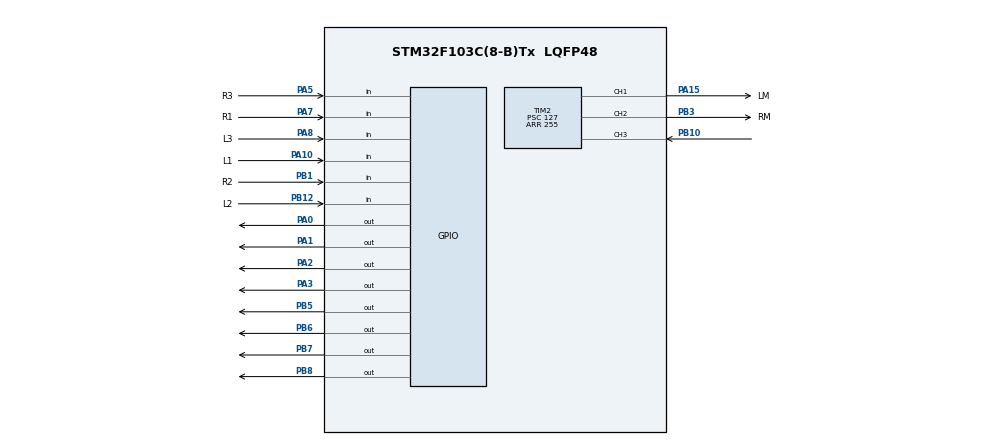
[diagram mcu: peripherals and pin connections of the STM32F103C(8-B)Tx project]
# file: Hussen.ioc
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Mcu.Family=STM32F1
Mcu.Name=STM32F103C(8-B)Tx
Mcu.Package=LQFP48
NVIC.PriorityGroup=NVIC_PRIORITYGROUP_4
NVIC.TIM2_IRQn=true\:0\:0\:false\:false\:true\:true\:true\:true
PA0-WKUP.Signal=GPIO_Output
PA1.Signal=GPIO_Output
PA10.GPIO_Label=L1
PA10.Signal=GPIO_Input
PA15.GPIO_Label=LM
PA15.Signal=S_TIM2_CH1_ETR
PA2.Signal=GPIO_Output
PA3.Signal=GPIO_Output
PA5.GPIO_Label=R3
PA5.Signal=GPIO_Input
PA7.GPIO_Label=R1
PA7.Signal=GPIO_Input
PA8.GPIO_Label=L3
PA8.Signal=GPIO_Input
PB1.GPIO_Label=R2
PB1.Signal=GPIO_Input
PB10.Signal=S_TIM2_CH3
PB12.GPIO_Label=L2
PB12.Signal=GPIO_Input
PB3.GPIO_Label=RM
PB3.Signal=S_TIM2_CH2
PB5.Signal=GPIO_Output
PB6.Signal=GPIO_Output
PB7.Signal=GPIO_Output
PB8.Signal=GPIO_Output
ProjectManager.HeapSize=0x200
ProjectManager.StackSize=0x400
ProjectManager.TargetToolchain=STM32CubeIDE
RCC.APB1Freq_Value=8000000
RCC.APB2Freq_Value=8000000
SH.S_TIM2_CH1_ETR.0=TIM2_CH1,PWM Generation1 CH1
SH.S_TIM2_CH2.0=TIM2_CH2,PWM Generation2 CH2
SH.S_TIM2_CH3.0=TIM2_CH3,Input_Capture3_from_TI3
TIM2.Channel-Input_Capture3_from_TI3=TIM_CHANNEL_3
TIM2.Channel-PWM\ Generation1\ CH1=TIM_CHANNEL_1
TIM2.Channel-PWM\ Generation2\ CH2=TIM_CHANNEL_2
TIM2.Period=255
TIM2.Prescaler=127
VP_SYS_VS_ND.Mode=No_Debug
board=custom

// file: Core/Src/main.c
/* USER CODE BEGIN Header */
/**
  ******************************************************************************
  * @file           : main.c
  * @brief          : Main program body
  ******************************************************************************
  * @attention
  *
  * Copyright (c) 2025 STMicroelectronics.
  * All rights reserved.
  *
  * This software is licensed under terms that can be found in the LICENSE file
  * in the root directory of this software component.
  * If no LICENSE file comes with this software, it is provided AS-IS.
  *
  ******************************************************************************
  */
/* USER CODE END Header */
#include "main.h"

TIM_HandleTypeDef htim2;

void SystemClock_Config(void);
static void MX_GPIO_Init(void);
static void MX_TIM2_Init(void);

/* USER CODE BEGIN 0 */

void forward(uint16_t leftMotorSpeed, uint16_t rightMotorSpeed)
{
	HAL_GPIO_WritePin(GPIOA, GPIO_PIN_0, GPIO_PIN_SET);
	HAL_GPIO_WritePin(GPIOA, GPIO_PIN_1, GPIO_PIN_RESET);
	HAL_GPIO_WritePin(GPIOA, GPIO_PIN_2, GPIO_PIN_SET);
	HAL_GPIO_WritePin(GPIOA, GPIO_PIN_3, GPIO_PIN_RESET);
	__HAL_TIM_SET_COMPARE(&htim2, TIM_CHANNEL_1, leftMotorSpeed);
	__HAL_TIM_SET_COMPARE(&htim2, TIM_CHANNEL_2, rightMotorSpeed);
}

void turnright(uint16_t leftMotorSpeed, uint16_t rightMotorSpeed)
{
	HAL_GPIO_WritePin(GPIOA, GPIO_PIN_0, GPIO_PIN_SET);
	HAL_GPIO_WritePin(GPIOA, GPIO_PIN_1, GPIO_PIN_RESET);
	HAL_GPIO_WritePin(GPIOA, GPIO_PIN_2, GPIO_PIN_RESET);
	HAL_GPIO_WritePin(GPIOA, GPIO_PIN_3, GPIO_PIN_SET);
	__HAL_TIM_SET_COMPARE(&htim2, TIM_CHANNEL_1, leftMotorSpeed);
	__HAL_TIM_SET_COMPARE(&htim2, TIM_CHANNEL_2, rightMotorSpeed);
}
void turnleft(uint16_t leftMotorSpeed, uint16_t rightMotorSpeed)
{
	HAL_GPIO_WritePin(GPIOA, GPIO_PIN_0, GPIO_PIN_RESET);
	HAL_GPIO_WritePin(GPIOA, GPIO_PIN_1, GPIO_PIN_SET);
	HAL_GPIO_WritePin(GPIOA, GPIO_PIN_2, GPIO_PIN_SET);
	HAL_GPIO_WritePin(GPIOA, GPIO_PIN_3, GPIO_PIN_RESET);
	__HAL_TIM_SET_COMPARE(&htim2, TIM_CHANNEL_1, leftMotorSpeed);
	__HAL_TIM_SET_COMPARE(&htim2, TIM_CHANNEL_2, rightMotorSpeed);
}
void backward(uint16_t leftMotorSpeed, uint16_t rightMotorSpeed)
{
	HAL_GPIO_WritePin(GPIOA, GPIO_PIN_0, GPIO_PIN_RESET);
	HAL_GPIO_WritePin(GPIOA, GPIO_PIN_1, GPIO_PIN_SET);
	HAL_GPIO_WritePin(GPIOA, GPIO_PIN_2, GPIO_PIN_RESET);
	HAL_GPIO_WritePin(GPIOA, GPIO_PIN_3, GPIO_PIN_SET);
	__HAL_TIM_SET_COMPARE(&htim2, TIM_CHANNEL_1, leftMotorSpeed);
	__HAL_TIM_SET_COMPARE(&htim2, TIM_CHANNEL_2, rightMotorSpeed);
}
void stop()
{
	HAL_GPIO_WritePin(GPIOA, GPIO_PIN_0, GPIO_PIN_RESET);
	HAL_GPIO_WritePin(GPIOA, GPIO_PIN_1, GPIO_PIN_RESET);
	HAL_GPIO_WritePin(GPIOA, GPIO_PIN_2, GPIO_PIN_RESET);
	HAL_GPIO_WritePin(GPIOA, GPIO_PIN_3, GPIO_PIN_RESET);
	__HAL_TIM_SET_COMPARE(&htim2, TIM_CHANNEL_1, 0);
	__HAL_TIM_SET_COMPARE(&htim2, TIM_CHANNEL_2, 0);
}

void readAll(GPIO_PinState *L1, GPIO_PinState *L2, GPIO_PinState *L3, GPIO_PinState *R1, GPIO_PinState *R2, GPIO_PinState *R3)
{
    *L1 = HAL_GPIO_ReadPin(L1_GPIO_Port, L1_Pin);
    *L2 = HAL_GPIO_ReadPin(L2_GPIO_Port, L2_Pin);
    *L3 = HAL_GPIO_ReadPin(L3_GPIO_Port, L3_Pin);
    *R1 = HAL_GPIO_ReadPin(R1_GPIO_Port, R1_Pin);
    *R2 = HAL_GPIO_ReadPin(R2_GPIO_Port, R2_Pin);
    *R3 = HAL_GPIO_ReadPin(R3_GPIO_Port, R3_Pin);
}

void readLeft(GPIO_PinState *L1, GPIO_PinState *L2, GPIO_PinState *L3)
{
    *L1 = HAL_GPIO_ReadPin(L1_GPIO_Port, L1_Pin);
    *L2 = HAL_GPIO_ReadPin(L2_GPIO_Port, L2_Pin);
    *L3 = HAL_GPIO_ReadPin(L3_GPIO_Port, L3_Pin);
}

void readRight(GPIO_PinState *R1, GPIO_PinState *R2, GPIO_PinState *R3)
{
    *R1 = HAL_GPIO_ReadPin(R1_GPIO_Port, R1_Pin);
    *R2 = HAL_GPIO_ReadPin(R2_GPIO_Port, R2_Pin);
    *R3 = HAL_GPIO_ReadPin(R3_GPIO_Port, R3_Pin);
}

/* USER CODE END 0 */

int main(void)
{

  /* USER CODE BEGIN 1 */
	GPIO_PinState L1, L2, L3, R1, R2, R3;
	int speed = 100;
	int turn1 = 30;
	int turn2 = 105;
	int turn3 = 110;

  /* USER CODE END 1 */

  /* MCU Configuration--------------------------------------------------------*/

  /* Reset of all peripherals, Initializes the Flash interface and the Systick. */
  HAL_Init();

  /* Configure the system clock */
  SystemClock_Config();

  /* Initialize all configured peripherals */
  MX_GPIO_Init();
  MX_TIM2_Init();
  /* USER CODE BEGIN 2 */
  HAL_TIM_PWM_Start(&htim2, TIM_CHANNEL_1);
  HAL_TIM_PWM_Start(&htim2, TIM_CHANNEL_2);
  /* USER CODE END 2 */

  /* Infinite loop */
  /* USER CODE BEGIN WHILE */
  while (1)
  {
	  readAll(&L1, &L2, &L3, &R1, &R2, &R3);

	  ///////////////////////////////////////////

	  while(L1 && !L2 && !L3)
	  {
		  turnright(speed, turn1);
		  readLeft(&L1, &L2, &L3);
	  }

	  while(L2 && !L3)
	  {
		  turnright(speed, turn2);
		  readLeft(&L1, &L2, &L3);
	  }

	  while(L3)
	  {
		  turnright(speed, turn3);
		  readLeft(&L1, &L2, &L3);
	  }

	  ////////////////////////////////////////////

	  while(R1 && !R2 && !R3)
	  {
		  turnleft(turn1, speed);
		  readRight(&R1, &R2, &R3);
	  }

	  while(R2 && !R3)
	  {
		  turnleft(turn2, speed);
		  readRight(&R1, &R2, &R3);
	  }

	  while(R3)
	  {

		  turnleft(turn3, speed);
		  readRight(&R1, &R2, &R3);
	  }

	  ////////////////////////////////////////////

	  while(!L1 && !L2 && !L3 && !R1 && !R2 && !R3)
	  {
		  forward(speed, speed);
		  readAll(&L1, &L2, &L3, &R1, &R2, &R3);
	  }

    /* USER CODE END WHILE */

  }
}

void SystemClock_Config(void)
{
  RCC_OscInitTypeDef RCC_OscInitStruct = {0};
  RCC_ClkInitTypeDef RCC_ClkInitStruct = {0};

  /** Initializes the RCC Oscillators according to the specified parameters
  * in the RCC_OscInitTypeDef structure.
  */
  RCC_OscInitStruct.OscillatorType = RCC_OSCILLATORTYPE_HSI;
  RCC_OscInitStruct.HSIState = RCC_HSI_ON;
  RCC_OscInitStruct.HSICalibrationValue = RCC_HSICALIBRATION_DEFAULT;
  RCC_OscInitStruct.PLL.PLLState = RCC_PLL_NONE;
  if (HAL_RCC_OscConfig(&RCC_OscInitStruct) != HAL_OK)
  {
    Error_Handler();
  }

  /** Initializes the CPU, AHB and APB buses clocks
  */
  RCC_ClkInitStruct.ClockType = RCC_CLOCKTYPE_HCLK|RCC_CLOCKTYPE_SYSCLK
                              |RCC_CLOCKTYPE_PCLK1|RCC_CLOCKTYPE_PCLK2;
  RCC_ClkInitStruct.SYSCLKSource = RCC_SYSCLKSOURCE_HSI;
  RCC_ClkInitStruct.AHBCLKDivider = RCC_SYSCLK_DIV1;
  RCC_ClkInitStruct.APB1CLKDivider = RCC_HCLK_DIV1;
  RCC_ClkInitStruct.APB2CLKDivider = RCC_HCLK_DIV1;

  if (HAL_RCC_ClockConfig(&RCC_ClkInitStruct, FLASH_LATENCY_0) != HAL_OK)
  {
    Error_Handler();
  }
}

static void MX_TIM2_Init(void)
{

  TIM_MasterConfigTypeDef sMasterConfig = {0};
  TIM_OC_InitTypeDef sConfigOC = {0};

  htim2.Instance = TIM2;
  htim2.Init.Prescaler = 127;
  htim2.Init.CounterMode = TIM_COUNTERMODE_UP;
  htim2.Init.Period = 255;
  htim2.Init.ClockDivision = TIM_CLOCKDIVISION_DIV1;
  htim2.Init.AutoReloadPreload = TIM_AUTORELOAD_PRELOAD_DISABLE;
  if (HAL_TIM_PWM_Init(&htim2) != HAL_OK)
  {
    Error_Handler();
  }
  sMasterConfig.MasterOutputTrigger = TIM_TRGO_RESET;
  sMasterConfig.MasterSlaveMode = TIM_MASTERSLAVEMODE_DISABLE;
  if (HAL_TIMEx_MasterConfigSynchronization(&htim2, &sMasterConfig) != HAL_OK)
  {
    Error_Handler();
  }
  sConfigOC.OCMode = TIM_OCMODE_PWM1;
  sConfigOC.Pulse = 0;
  sConfigOC.OCPolarity = TIM_OCPOLARITY_HIGH;
  sConfigOC.OCFastMode = TIM_OCFAST_DISABLE;
  if (HAL_TIM_PWM_ConfigChannel(&htim2, &sConfigOC, TIM_CHANNEL_1) != HAL_OK)
  {
    Error_Handler();
  }
  if (HAL_TIM_PWM_ConfigChannel(&htim2, &sConfigOC, TIM_CHANNEL_2) != HAL_OK)
  {
    Error_Handler();
  }
  HAL_TIM_MspPostInit(&htim2);

}

static void MX_GPIO_Init(void)
{
  GPIO_InitTypeDef GPIO_InitStruct = {0};

  /* GPIO Ports Clock Enable */
  __HAL_RCC_GPIOA_CLK_ENABLE();
  __HAL_RCC_GPIOB_CLK_ENABLE();

  /*Configure GPIO pin Output Level */
  HAL_GPIO_WritePin(GPIOA, GPIO_PIN_0|GPIO_PIN_1|GPIO_PIN_2|GPIO_PIN_3, GPIO_PIN_RESET);

  /*Configure GPIO pins : PA0 PA1 PA2 PA3 */
  GPIO_InitStruct.Pin = GPIO_PIN_0|GPIO_PIN_1|GPIO_PIN_2|GPIO_PIN_3;
  GPIO_InitStruct.Mode = GPIO_MODE_OUTPUT_PP;
  GPIO_InitStruct.Pull = GPIO_NOPULL;
  GPIO_InitStruct.Speed = GPIO_SPEED_FREQ_LOW;
  HAL_GPIO_Init(GPIOA, &GPIO_InitStruct);

  /*Configure GPIO pins : R3_Pin R1_Pin L3_Pin L1_Pin */
  GPIO_InitStruct.Pin = R3_Pin|R1_Pin|L3_Pin|L1_Pin;
  GPIO_InitStruct.Mode = GPIO_MODE_INPUT;
  GPIO_InitStruct.Pull = GPIO_NOPULL;
  HAL_GPIO_Init(GPIOA, &GPIO_InitStruct);

  /*Configure GPIO pins : R2_Pin L2_Pin */
  GPIO_InitStruct.Pin = R2_Pin|L2_Pin;
  GPIO_InitStruct.Mode = GPIO_MODE_INPUT;
  GPIO_InitStruct.Pull = GPIO_NOPULL;
  HAL_GPIO_Init(GPIOB, &GPIO_InitStruct);

}

void Error_Handler(void)
{
  __disable_irq();
  while (1)
  {
  }
}
